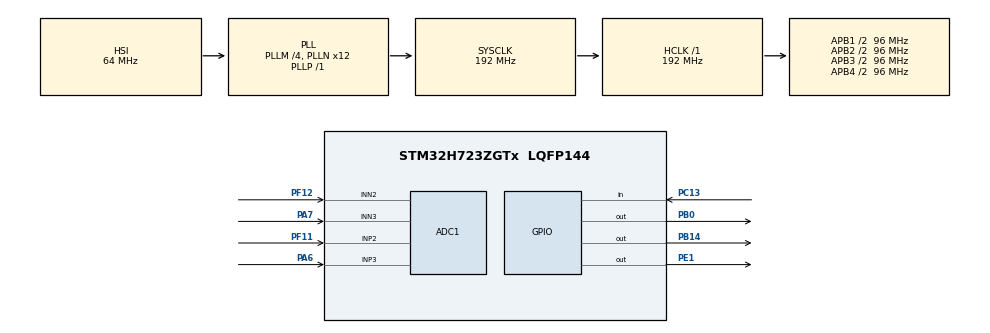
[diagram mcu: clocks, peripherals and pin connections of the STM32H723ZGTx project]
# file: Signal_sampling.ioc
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ADC1.Channel-4\#ChannelRegularConversion=ADC_CHANNEL_2
ADC1.Channel-5\#ChannelRegularConversion=ADC_CHANNEL_3
ADC1.ClockPrescaler=ADC_CLOCK_ASYNC_DIV4
ADC1.ContinuousConvMode=ENABLE
ADC1.ConversionDataManagement=ADC_CONVERSIONDATA_DMA_ONESHOT
ADC1.NbrOfConversion=2
ADC1.NbrOfConversionFlag=1
ADC1.OffsetNumber-4\#ChannelRegularConversion=ADC_OFFSET_NONE
ADC1.OffsetNumber-5\#ChannelRegularConversion=ADC_OFFSET_NONE
ADC1.OffsetSignedSaturation-4\#ChannelRegularConversion=DISABLE
ADC1.OffsetSignedSaturation-5\#ChannelRegularConversion=DISABLE
ADC1.Rank-4\#ChannelRegularConversion=1
ADC1.Rank-5\#ChannelRegularConversion=2
ADC1.SamplingTime-4\#ChannelRegularConversion=ADC_SAMPLETIME_1CYCLE_5
ADC1.SamplingTime-5\#ChannelRegularConversion=ADC_SAMPLETIME_1CYCLE_5
ADC1.SingleDiff-4\#ChannelRegularConversion=ADC_DIFFERENTIAL_ENDED
ADC1.SingleDiff-5\#ChannelRegularConversion=ADC_DIFFERENTIAL_ENDED
ADC1.master=1
CORTEX_M7.default_mode_Activation=1
Dma.ADC1.0.Direction=DMA_PERIPH_TO_MEMORY
Dma.ADC1.0.EventEnable=DISABLE
Dma.ADC1.0.FIFOMode=DMA_FIFOMODE_DISABLE
Dma.ADC1.0.Instance=DMA1_Stream0
Dma.ADC1.0.MemDataAlignment=DMA_MDATAALIGN_HALFWORD
Dma.ADC1.0.MemInc=DMA_MINC_ENABLE
Dma.ADC1.0.Mode=DMA_CIRCULAR
Dma.ADC1.0.PeriphDataAlignment=DMA_PDATAALIGN_HALFWORD
Dma.ADC1.0.PeriphInc=DMA_PINC_DISABLE
Dma.ADC1.0.Polarity=HAL_DMAMUX_REQ_GEN_RISING
Dma.ADC1.0.Priority=DMA_PRIORITY_LOW
Dma.ADC1.0.RequestNumber=1
Dma.ADC1.0.SignalID=NONE
Dma.ADC1.0.SyncEnable=DISABLE
Dma.ADC1.0.SyncPolarity=HAL_DMAMUX_SYNC_NO_EVENT
Dma.ADC1.0.SyncRequestNumber=1
Dma.ADC1.0.SyncSignalID=NONE
Dma.Request0=ADC1
Mcu.Family=STM32H7
Mcu.Name=STM32H723ZGTx
Mcu.Package=LQFP144
NUCLEO-H723ZG.BUTTON=1
NUCLEO-H723ZG.Bsp_Common_DEMO=true
NUCLEO-H723ZG.LD1=true
NUCLEO-H723ZG.LD2=true
NUCLEO-H723ZG.LD3=true
NUCLEO-H723ZG.VCP=true
NVIC.DMA1_Stream0_IRQn=true\:0\:0\:false\:false\:true\:false\:true\:true
NVIC.EXTI15_10_IRQn=true\:0\:0\:false\:false\:true\:false\:true\:true
NVIC.PriorityGroup=NVIC_PRIORITYGROUP_4
PA13(JTMS/SWDIO).GPIO_Label=SWDIO
PA13(JTMS/SWDIO).Signal=DEBUG_JTMS-SWDIO
PA14(JTCK/SWCLK).GPIO_Label=SWCLK
PA14(JTCK/SWCLK).Signal=DEBUG_JTCK-SWCLK
PA6.Signal=ADCx_INP3
PA7.Signal=ADCx_INN3
PB0.Signal=GPIO_Output
PB14.Signal=GPIO_Output
PC13.Signal=GPIO_Input
PC14-OSC32_IN.Signal=RCC_OSC32_IN
PC15-OSC32_OUT.Signal=RCC_OSC32_OUT
PD8.Signal=USART3_TX
PD9.Signal=USART3_RX
PE1.Signal=GPIO_Output
PF11.Mode=IN2-Differential
PF11.Signal=ADC1_INP2
PF12.Mode=IN2-Differential
PF12.Signal=ADC1_INN2
ProjectManager.HeapSize=0x200
ProjectManager.StackSize=0x400
ProjectManager.TargetToolchain=STM32CubeIDE
RCC.ADCFreq_Value=1500000
RCC.APB1Freq_Value=96000000
RCC.APB2Freq_Value=96000000
RCC.APB3Freq_Value=96000000
RCC.APB4Freq_Value=96000000
RCC.CortexFreq_Value=192000000
RCC.D1PPRE=RCC_APB3_DIV2
RCC.D2PPRE1=RCC_APB1_DIV2
RCC.D2PPRE2=RCC_APB2_DIV2
RCC.D3PPRE=RCC_APB4_DIV2
RCC.DIVM1=4
RCC.DIVM2=4
RCC.DIVN1=12
RCC.DIVN2=12
RCC.DIVP1=1
RCC.DIVP2=128
RCC.DIVQ1=4
RCC.HCLKFreq_Value=192000000
RCC.HSE_VALUE=8000000
RCC.PLL2FRACN=0
RCC.PLLFRACN=0
RCC.SYSCLKFreq_VALUE=192000000
RCC.SYSCLKSource=RCC_SYSCLKSOURCE_PLLCLK
RCC.USBCLockSelection=RCC_USBCLKSOURCE_HSI48
RCC.USBFreq_Value=48000000
SH.ADCx_INN3.0=ADC1_INN3,IN3-Differential
SH.ADCx_INP3.0=ADC1_INP3,IN3-Differential
VP_MEMORYMAP_VS_MEMORYMAP.Mode=CurAppReg
VP_NUCLEO-H723ZG_VS_BSP_COMMON.Mode=COMMON
board=NUCLEO-H723ZG

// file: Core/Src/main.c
/* USER CODE BEGIN Header */
/**
  ******************************************************************************
  * @file           : main.c
  * @brief          : Main program body
  ******************************************************************************
  * @attention
  *
  * Copyright (c) 2026 STMicroelectronics.
  * All rights reserved.
  *
  * This software is licensed under terms that can be found in the LICENSE file
  * in the root directory of this software component.
  * If no LICENSE file comes with this software, it is provided AS-IS.
  *
  ******************************************************************************
  */
/* USER CODE END Header */
#include "main.h"

/* USER CODE BEGIN Includes */
#include "stdio.h"
#include <string.h>
/* USER CODE END Includes */

COM_InitTypeDef BspCOMInit;
__IO uint32_t BspButtonState = BUTTON_RELEASED;
ADC_HandleTypeDef hadc1;
DMA_HandleTypeDef hdma_adc1;

/* USER CODE BEGIN PV */
#define BUFFER_SIZE 256

uint16_t adc_buffer[BUFFER_SIZE];
extern UART_HandleTypeDef hcom_uart[];

volatile uint8_t uart_busy = 0;
/* USER CODE END PV */

void SystemClock_Config(void);
static void MPU_Config(void);
static void MX_GPIO_Init(void);
static void MX_DMA_Init(void);
static void MX_ADC1_Init(void);

int main(void)
{

  /* MPU Configuration--------------------------------------------------------*/
  MPU_Config();

  /* MCU Configuration--------------------------------------------------------*/

  /* Reset of all peripherals, Initializes the Flash interface and the Systick. */
  HAL_Init();

  /* Configure the system clock */
  SystemClock_Config();

  /* Initialize all configured peripherals */
  MX_GPIO_Init();
  MX_DMA_Init();
  MX_ADC1_Init();
  /* USER CODE BEGIN 2 */
  HAL_NVIC_EnableIRQ(USART3_IRQn);
  HAL_ADCEx_Calibration_Start(&hadc1, ADC_CALIB_OFFSET, ADC_DIFFERENTIAL_ENDED);
  HAL_ADC_Start_DMA(&hadc1, (uint32_t*)adc_buffer, BUFFER_SIZE);

  /* USER CODE END 2 */

  /* Initialize leds */
  BSP_LED_Init(LED_GREEN);
  BSP_LED_Init(LED_YELLOW);
  BSP_LED_Init(LED_RED);

  /* Initialize USER push-button, will be used to trigger an interrupt each time it's pressed.*/
  BSP_PB_Init(BUTTON_USER, BUTTON_MODE_EXTI);

  /* Initialize COM1 port (115200, 8 bits (7-bit data + 1 stop bit), no parity */
  BspCOMInit.BaudRate   = 115200;
  BspCOMInit.WordLength = COM_WORDLENGTH_8B;
  BspCOMInit.StopBits   = COM_STOPBITS_1;
  BspCOMInit.Parity     = COM_PARITY_NONE;
  BspCOMInit.HwFlowCtl  = COM_HWCONTROL_NONE;
  if (BSP_COM_Init(COM1, &BspCOMInit) != BSP_ERROR_NONE)
  {
    Error_Handler();
  }

  /* USER CODE BEGIN BSP */
  static DMA_HandleTypeDef hdma_usart3_tx;

  hdma_usart3_tx.Instance                 = DMA1_Stream3;
  hdma_usart3_tx.Init.Request             = DMA_REQUEST_USART3_TX;
  hdma_usart3_tx.Init.Direction           = DMA_MEMORY_TO_PERIPH;
  hdma_usart3_tx.Init.PeriphInc           = DMA_PINC_DISABLE;
  hdma_usart3_tx.Init.MemInc              = DMA_MINC_ENABLE;
  hdma_usart3_tx.Init.PeriphDataAlignment = DMA_PDATAALIGN_BYTE;
  hdma_usart3_tx.Init.MemDataAlignment    = DMA_MDATAALIGN_BYTE;
  hdma_usart3_tx.Init.Mode                = DMA_NORMAL;
  hdma_usart3_tx.Init.Priority            = DMA_PRIORITY_LOW;
  hdma_usart3_tx.Init.FIFOMode            = DMA_FIFOMODE_DISABLE;

  HAL_DMA_Init(&hdma_usart3_tx);
  __HAL_LINKDMA(&hcom_uart[COM1], hdmatx, hdma_usart3_tx);
  /* USER CODE END BSP */
  /* Infinite loop */
  /* USER CODE BEGIN WHILE */
  while (1)
  {
  }
}

void SystemClock_Config(void)
{
  RCC_OscInitTypeDef RCC_OscInitStruct = {0};
  RCC_ClkInitTypeDef RCC_ClkInitStruct = {0};

  /** Supply configuration update enable
  */
  HAL_PWREx_ConfigSupply(PWR_LDO_SUPPLY);

  /** Configure the main internal regulator output voltage
  */
  __HAL_PWR_VOLTAGESCALING_CONFIG(PWR_REGULATOR_VOLTAGE_SCALE1);

  while(!__HAL_PWR_GET_FLAG(PWR_FLAG_VOSRDY)) {}

  /** Initializes the RCC Oscillators according to the specified parameters
  * in the RCC_OscInitTypeDef structure.
  */
  RCC_OscInitStruct.OscillatorType = RCC_OSCILLATORTYPE_HSI;
  RCC_OscInitStruct.HSIState = RCC_HSI_DIV1;
  RCC_OscInitStruct.HSICalibrationValue = 64;
  RCC_OscInitStruct.PLL.PLLState = RCC_PLL_ON;
  RCC_OscInitStruct.PLL.PLLSource = RCC_PLLSOURCE_HSI;
  RCC_OscInitStruct.PLL.PLLM = 4;
  RCC_OscInitStruct.PLL.PLLN = 12;
  RCC_OscInitStruct.PLL.PLLP = 1;
  RCC_OscInitStruct.PLL.PLLQ = 4;
  RCC_OscInitStruct.PLL.PLLR = 2;
  RCC_OscInitStruct.PLL.PLLRGE = RCC_PLL1VCIRANGE_3;
  RCC_OscInitStruct.PLL.PLLVCOSEL = RCC_PLL1VCOWIDE;
  RCC_OscInitStruct.PLL.PLLFRACN = 0;
  if (HAL_RCC_OscConfig(&RCC_OscInitStruct) != HAL_OK)
  {
    Error_Handler();
  }

  /** Initializes the CPU, AHB and APB buses clocks
  */
  RCC_ClkInitStruct.ClockType = RCC_CLOCKTYPE_HCLK|RCC_CLOCKTYPE_SYSCLK
                              |RCC_CLOCKTYPE_PCLK1|RCC_CLOCKTYPE_PCLK2
                              |RCC_CLOCKTYPE_D3PCLK1|RCC_CLOCKTYPE_D1PCLK1;
  RCC_ClkInitStruct.SYSCLKSource = RCC_SYSCLKSOURCE_PLLCLK;
  RCC_ClkInitStruct.SYSCLKDivider = RCC_SYSCLK_DIV1;
  RCC_ClkInitStruct.AHBCLKDivider = RCC_HCLK_DIV1;
  RCC_ClkInitStruct.APB3CLKDivider = RCC_APB3_DIV2;
  RCC_ClkInitStruct.APB1CLKDivider = RCC_APB1_DIV2;
  RCC_ClkInitStruct.APB2CLKDivider = RCC_APB2_DIV2;
  RCC_ClkInitStruct.APB4CLKDivider = RCC_APB4_DIV2;

  if (HAL_RCC_ClockConfig(&RCC_ClkInitStruct, FLASH_LATENCY_2) != HAL_OK)
  {
    Error_Handler();
  }
}

static void MX_ADC1_Init(void)
{

  ADC_MultiModeTypeDef multimode = {0};
  ADC_ChannelConfTypeDef sConfig = {0};

  /** Common config
  */
  hadc1.Instance = ADC1;
  hadc1.Init.ClockPrescaler = ADC_CLOCK_ASYNC_DIV4;
  hadc1.Init.Resolution = ADC_RESOLUTION_16B;
  hadc1.Init.ScanConvMode = ADC_SCAN_ENABLE;
  hadc1.Init.EOCSelection = ADC_EOC_SEQ_CONV;
  hadc1.Init.LowPowerAutoWait = DISABLE;
  hadc1.Init.ContinuousConvMode = ENABLE;
  hadc1.Init.NbrOfConversion = 2;
  hadc1.Init.DiscontinuousConvMode = DISABLE;
  hadc1.Init.ExternalTrigConv = ADC_SOFTWARE_START;
  hadc1.Init.ExternalTrigConvEdge = ADC_EXTERNALTRIGCONVEDGE_NONE;
  hadc1.Init.ConversionDataManagement = ADC_CONVERSIONDATA_DMA_CIRCULAR;
  hadc1.Init.Overrun = ADC_OVR_DATA_PRESERVED;
  hadc1.Init.LeftBitShift = ADC_LEFTBITSHIFT_NONE;
  hadc1.Init.OversamplingMode = DISABLE;
  hadc1.Init.Oversampling.Ratio = 1;
  if (HAL_ADC_Init(&hadc1) != HAL_OK)
  {
    Error_Handler();
  }

  /** Configure the ADC multi-mode
  */
  multimode.Mode = ADC_MODE_INDEPENDENT;
  if (HAL_ADCEx_MultiModeConfigChannel(&hadc1, &multimode) != HAL_OK)
  {
    Error_Handler();
  }

  /** Configure Regular Channel
  */
  sConfig.Channel = ADC_CHANNEL_2;
  sConfig.Rank = ADC_REGULAR_RANK_1;
  sConfig.SamplingTime = ADC_SAMPLETIME_1CYCLE_5;
  sConfig.SingleDiff = ADC_DIFFERENTIAL_ENDED;
  sConfig.OffsetNumber = ADC_OFFSET_NONE;
  sConfig.Offset = 0;
  sConfig.OffsetSignedSaturation = DISABLE;
  if (HAL_ADC_ConfigChannel(&hadc1, &sConfig) != HAL_OK)
  {
    Error_Handler();
  }

  /** Configure Regular Channel
  */
  sConfig.Channel = ADC_CHANNEL_3;
  sConfig.Rank = ADC_REGULAR_RANK_2;
  if (HAL_ADC_ConfigChannel(&hadc1, &sConfig) != HAL_OK)
  {
    Error_Handler();
  }

}

static void MX_DMA_Init(void)
{

  /* DMA controller clock enable */
  __HAL_RCC_DMA1_CLK_ENABLE();

  /* DMA interrupt init */
  /* DMA1_Stream0_IRQn interrupt configuration */
  HAL_NVIC_SetPriority(DMA1_Stream0_IRQn, 0, 0);
  HAL_NVIC_EnableIRQ(DMA1_Stream0_IRQn);

  HAL_NVIC_SetPriority(DMA1_Stream3_IRQn, 5, 0);
  HAL_NVIC_EnableIRQ(DMA1_Stream3_IRQn);

  HAL_NVIC_SetPriority(USART3_IRQn, 5, 0);
  HAL_NVIC_EnableIRQ(USART3_IRQn);
}

static void MX_GPIO_Init(void)
{

  /* GPIO Ports Clock Enable */
  __HAL_RCC_GPIOC_CLK_ENABLE();
  __HAL_RCC_GPIOA_CLK_ENABLE();
  __HAL_RCC_GPIOF_CLK_ENABLE();

}

/* USER CODE BEGIN 4 */

void DMA1_Stream3_IRQHandler(void)
{
    HAL_DMA_IRQHandler(hcom_uart[COM1].hdmatx);
}

void USART3_IRQHandler(void)
{
    HAL_UART_IRQHandler(&hcom_uart[COM1]);
}

static void tx_request(uint8_t *data, uint16_t len)
{
    if (uart_busy)
        return;

    uart_busy = 1;
    HAL_UART_Transmit_DMA(&hcom_uart[COM1], data, len);
}

void HAL_UART_TxCpltCallback(UART_HandleTypeDef *huart)
{
    if (huart == &hcom_uart[COM1])
    {
        uart_busy = 0;
    }
}

void HAL_ADC_ConvHalfCpltCallback(ADC_HandleTypeDef *hadc)
{
    if (hadc->Instance == ADC1)
    {
        tx_request((uint8_t*)adc_buffer, (BUFFER_SIZE / 2) * sizeof(uint16_t));
    }
}

void HAL_ADC_ConvCpltCallback(ADC_HandleTypeDef *hadc)
{
    if (hadc->Instance == ADC1)
    {
        tx_request((uint8_t*)&adc_buffer[BUFFER_SIZE / 2], (BUFFER_SIZE / 2) * sizeof(uint16_t));
    }
}

/* USER CODE END 4 */

 /* MPU Configuration */

void MPU_Config(void)
{
  MPU_Region_InitTypeDef MPU_InitStruct = {0};

  /* Disables the MPU */
  HAL_MPU_Disable();

  /** Initializes and configures the Region and the memory to be protected
  */
  MPU_InitStruct.Enable = MPU_REGION_ENABLE;
  MPU_InitStruct.Number = MPU_REGION_NUMBER0;
  MPU_InitStruct.BaseAddress = 0x0;
  MPU_InitStruct.Size = MPU_REGION_SIZE_4GB;
  MPU_InitStruct.SubRegionDisable = 0x87;
  MPU_InitStruct.TypeExtField = MPU_TEX_LEVEL0;
  MPU_InitStruct.AccessPermission = MPU_REGION_NO_ACCESS;
  MPU_InitStruct.DisableExec = MPU_INSTRUCTION_ACCESS_DISABLE;
  MPU_InitStruct.IsShareable = MPU_ACCESS_SHAREABLE;
  MPU_InitStruct.IsCacheable = MPU_ACCESS_NOT_CACHEABLE;
  MPU_InitStruct.IsBufferable = MPU_ACCESS_NOT_BUFFERABLE;

  HAL_MPU_ConfigRegion(&MPU_InitStruct);
  /* Enables the MPU */
  HAL_MPU_Enable(MPU_PRIVILEGED_DEFAULT);

}

/**
  * @brief BSP Push Button callback
  * @param Button Specifies the pressed button
  * @retval None
  */
void BSP_PB_Callback(Button_TypeDef Button)
{
  if (Button == BUTTON_USER)
  {
    BspButtonState = BUTTON_PRESSED;
  }
}

void Error_Handler(void)
{
  __disable_irq();
  while (1)
  {
  }
}
